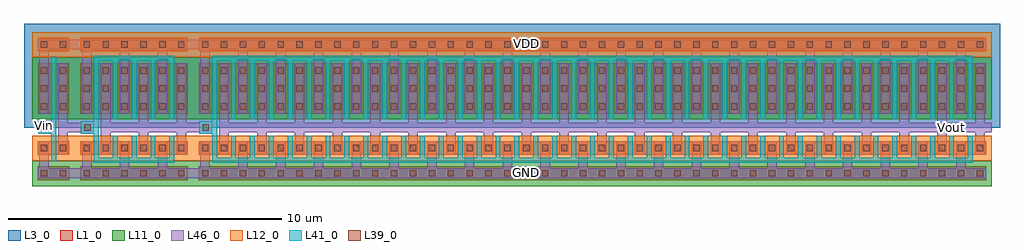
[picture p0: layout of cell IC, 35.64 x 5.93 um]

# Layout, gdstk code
import gdstk
lib = gdstk.Library(unit=1e-6, precision=1e-09)
def R(c, l, rs):  # rectangles x0, y0, x1, y1
    for r in rs: c.add(gdstk.rectangle(r[:2], r[2:], *l))
def A(c, l, x, y, w, h, nx, ny, dx, dy):  # array of equal rectangles
    R(c, l, [(x+i*dx, y+j*dy, x+i*dx+w, y+j*dy+h) for i in range(nx) for j in range(ny)])
L1_0 = (1, 0)
L3_0 = (3, 0)
L11_0 = (11, 0)
L12_0 = (12, 0)
L39_0 = (39, 0)
L41_0 = (41, 0)
L46_0 = (46, 0)

c_ic = lib.new_cell('IC')
R(c_ic, L1_0, [(4.275,-1.086,5.435,-0.586), (5.835,-1.086,9.755,-0.586), (10.155,-1.086,38.915,-0.586), (4.275,-0.166,5.435,0.334), (5.835,-0.166,9.755,0.334), (10.155,-0.166,38.915,0.334), (4.275,1.334,5.435,3.18), (5.835,1.334,9.755,3.18), (10.155,1.334,38.915,3.18), (4.275,3.62,5.435,4.12), (5.835,3.62,9.755,4.12), (10.155,3.62,38.915,4.12)])
R(c_ic, L3_0, [(3.775,0.834,39.415,4.62)])
R(c_ic, L11_0, [(4.075,-1.306,5.635,-0.386), (5.635,-1.306,9.955,-0.386), (9.955,-1.306,39.115,-0.386), (4.075,1.134,5.635,3.4), (5.635,1.134,9.955,3.4), (9.955,1.134,39.115,3.4)])
R(c_ic, L12_0, [(4.075,-0.386,5.635,0.534), (5.635,-0.386,9.955,0.534), (9.955,-0.386,39.115,0.534), (4.075,3.4,5.635,4.32), (5.635,3.4,9.955,4.32), (9.955,3.4,39.115,4.32)])
A(c_ic, L39_0, 5.955, -0.951, 0.23, 0.23, 6, 2, 0.69, 0.92)
A(c_ic, L39_0, 10.275, -0.951, 0.23, 0.23, 42, 2, 0.69, 0.92)
A(c_ic, L39_0, 4.395, 1.484, 0.23, 0.23, 1, 3, 0, 0.658)
A(c_ic, L39_0, 5.085, 1.484, 0.23, 0.23, 1, 3, 0, 0.658)
A(c_ic, L39_0, 5.955, 1.484, 0.23, 0.23, 6, 3, 0.69, 0.658)
A(c_ic, L39_0, 10.275, 1.484, 0.23, 0.23, 42, 3, 0.69, 0.658)
A(c_ic, L39_0, 5.955, 3.755, 0.23, 0.23, 6, 1, 0.69, 0)
A(c_ic, L39_0, 10.275, 3.755, 0.23, 0.23, 42, 1, 0.69, 0)
R(c_ic, L39_0, [(4.395,-0.951,4.625,-0.721), (5.085,-0.951,5.315,-0.721), (4.395,-0.031,4.625,0.199), (5.085,-0.031,5.315,0.199), (4.415,0.719,4.645,0.949), (5.975,0.719,6.205,0.949), (10.295,0.719,10.525,0.949), (4.395,3.755,4.625,3.985), (5.085,3.755,5.315,3.985)])
A(c_ic, L41_0, 11.335, -0.446, 0.18, 0.98, 20, 1, 1.38, 0)
A(c_ic, L41_0, 12.025, -0.445, 0.18, 0.979, 20, 1, 1.38, 0)
A(c_ic, L41_0, 7.015, 1.134, 0.18, 2.326, 4, 1, 0.69, 0)
A(c_ic, L41_0, 11.335, 1.134, 0.18, 2.326, 40, 1, 0.69, 0)
R(c_ic, L41_0, [(6.325,-0.446,9.265,-0.266), (6.325,-0.446,6.505,3.46), (7.015,-0.446,7.195,0.534), (8.395,-0.446,8.575,0.534), (10.645,-0.446,38.425,-0.266), (10.645,-0.446,10.825,3.46), (7.705,-0.445,7.885,0.534), (9.085,-0.445,9.265,0.534), (4.765,-0.386,4.945,3.4), (4.295,0.599,4.765,1.069), (5.855,0.599,6.325,1.069), (10.175,0.599,10.645,1.069), (6.325,3.28,9.265,3.46), (10.645,3.28,38.425,3.46)])
A(c_ic, L46_0, 5.895, -1.011, 0.35, 1.345, 3, 1, 1.38, 0)
A(c_ic, L46_0, 10.215, -1.011, 0.35, 1.345, 21, 1, 1.38, 0)
A(c_ic, L46_0, 6.585, -0.166, 0.35, 3.346, 3, 1, 1.38, 0)
A(c_ic, L46_0, 10.905, -0.166, 0.35, 3.346, 21, 1, 1.38, 0)
A(c_ic, L46_0, 5.895, 1.334, 0.35, 2.711, 3, 1, 1.38, 0)
A(c_ic, L46_0, 10.215, 1.334, 0.35, 2.711, 21, 1, 1.38, 0)
R(c_ic, L46_0, [(4.275,-1.011,38.915,-0.661), (4.335,-1.011,4.685,0.334), (5.025,-0.166,5.375,3.18), (4.295,0.599,4.765,1.069), (5.855,0.599,6.325,1.069), (10.175,0.599,10.645,1.069), (5.025,0.659,6.205,1.009), (6.585,0.659,10.525,1.009), (10.905,0.659,39.115,1.009), (4.335,1.334,4.685,4.045), (4.275,3.695,38.915,4.045)])
c_ic.add(gdstk.Label('Vout', (37.64,0.84), layer=101, texttype=0))
c_ic.add(gdstk.Label('GND', (22.12,-0.8), layer=101, texttype=0))
c_ic.add(gdstk.Label('VDD', (22.12,3.89), layer=101, texttype=0))
c_ic.add(gdstk.Label('Vin', (4.53,0.92), layer=101, texttype=0))

lib.write_gds('IC.gds')
